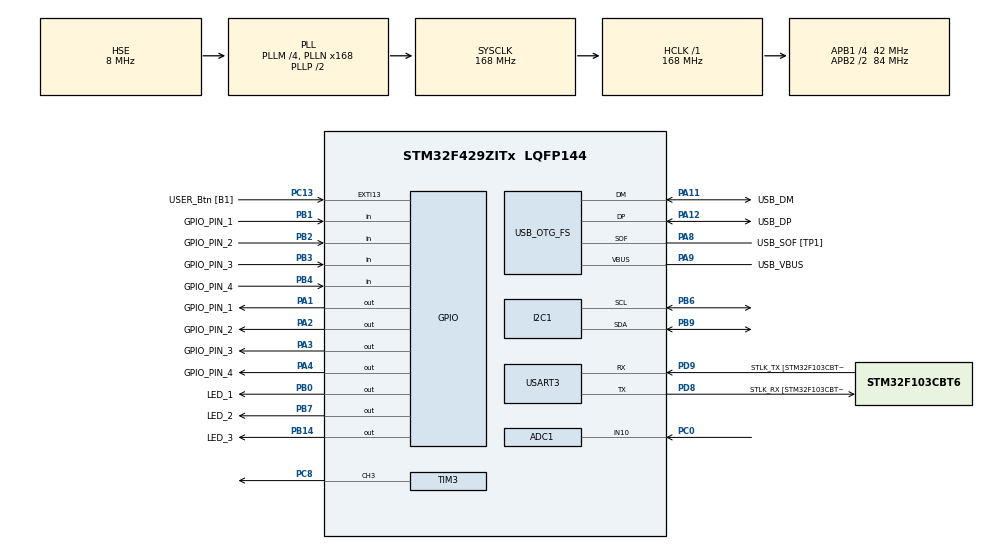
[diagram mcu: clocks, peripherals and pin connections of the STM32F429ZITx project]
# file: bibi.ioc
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ADC1.Channel-0\#ChannelRegularConversion=ADC_CHANNEL_10
ADC1.NbrOfConversionFlag=1
ADC1.Rank-0\#ChannelRegularConversion=1
ADC1.SamplingTime-0\#ChannelRegularConversion=ADC_SAMPLETIME_3CYCLES
ADC1.master=1
Mcu.Family=STM32F4
Mcu.Name=STM32F429ZITx
Mcu.Package=LQFP144
NVIC.PriorityGroup=NVIC_PRIORITYGROUP_4
NVIC.USART3_IRQn=true\:1\:0\:true\:false\:true\:true\:true\:true
PA1.GPIO_Label=GPIO_PIN_1
PA1.Signal=GPIO_Output
PA11.GPIO_Label=USB_DM
PA11.Mode=Device_Only
PA11.Signal=USB_OTG_FS_DM
PA12.GPIO_Label=USB_DP
PA12.Mode=Device_Only
PA12.Signal=USB_OTG_FS_DP
PA13.GPIO_Label=TMS
PA13.Mode=Serial_Wire
PA13.Signal=SYS_JTMS-SWDIO
PA14.GPIO_Label=TCK
PA14.Mode=Serial_Wire
PA14.Signal=SYS_JTCK-SWCLK
PA2.GPIO_Label=GPIO_PIN_2
PA2.Signal=GPIO_Output
PA3.GPIO_Label=GPIO_PIN_3
PA3.Signal=GPIO_Output
PA4.GPIO_Label=GPIO_PIN_4
PA4.Signal=GPIO_Output
PA8.GPIO_Label=USB_SOF [TP1]
PA8.Mode=Activate_SOF_FS
PA8.Signal=USB_OTG_FS_SOF
PA9.GPIO_Label=USB_VBUS
PA9.Mode=Activate_VBUS
PA9.Signal=USB_OTG_FS_VBUS
PB0.GPIO_Label=LED_1
PB0.Signal=GPIO_Output
PB1.GPIO_Label=GPIO_PIN_1
PB1.GPIO_PuPd=GPIO_PULLUP
PB1.Signal=GPIO_Input
PB14.GPIO_Label=LED_3
PB14.Signal=GPIO_Output
PB2/BOOT1.GPIO_Label=GPIO_PIN_2
PB2/BOOT1.GPIO_PuPd=GPIO_PULLUP
PB2/BOOT1.Signal=GPIO_Input
PB3.GPIO_Label=GPIO_PIN_3
PB3.GPIO_PuPd=GPIO_PULLUP
PB3.Signal=GPIO_Input
PB4.GPIO_Label=GPIO_PIN_4
PB4.GPIO_PuPd=GPIO_PULLUP
PB4.Signal=GPIO_Input
PB6.Mode=I2C
PB6.Signal=I2C1_SCL
PB7.GPIO_Label=LED_2
PB7.Signal=GPIO_Output
PB9.Mode=I2C
PB9.Signal=I2C1_SDA
PC0.Signal=ADCx_IN10
PC13.GPIO_Label=USER_Btn [B1]
PC13.Signal=GPXTI13
PC14/OSC32_IN.Mode=LSE-External-Oscillator
PC14/OSC32_IN.Signal=RCC_OSC32_IN
PC15/OSC32_OUT.Mode=LSE-External-Oscillator
PC15/OSC32_OUT.Signal=RCC_OSC32_OUT
PC8.Signal=S_TIM3_CH3
PD8.GPIO_Label=STLK_RX [STM32F103CBT6_PA3]
PD8.Mode=Asynchronous
PD8.Signal=USART3_TX
PD9.GPIO_Label=STLK_TX [STM32F103CBT6_PA2]
PD9.Mode=Asynchronous
PD9.Signal=USART3_RX
PH0/OSC_IN.GPIO_Label=MCO [STM32F103CBT6_PA8]
PH0/OSC_IN.Mode=HSE-External-Clock-Source
PH0/OSC_IN.Signal=RCC_OSC_IN
PH1/OSC_OUT.Mode=HSE-External-Clock-Source
PH1/OSC_OUT.Signal=RCC_OSC_OUT
ProjectManager.HeapSize=0x200
ProjectManager.StackSize=0x400
ProjectManager.TargetToolchain=STM32CubeIDE
RCC.48MHZClocksFreq_Value=48000000
RCC.AHBFreq_Value=168000000
RCC.APB1CLKDivider=RCC_HCLK_DIV4
RCC.APB1Freq_Value=42000000
RCC.APB1TimFreq_Value=84000000
RCC.APB2CLKDivider=RCC_HCLK_DIV2
RCC.APB2Freq_Value=84000000
RCC.APB2TimCLKDivider=2
RCC.APB2TimFreq_Value=168000000
RCC.CortexFreq_Value=168000000
RCC.HCLKFreq_Value=168000000
RCC.HSE_VALUE=8000000
RCC.HSI_VALUE=16000000
RCC.PLLM=4
RCC.PLLMUL=RCC_PLL_MUL9
RCC.PLLN=168
RCC.PLLQ=7
RCC.PRESCALERUSB=RCC_USBCLKSOURCE_PLL_DIV1_5
RCC.SYSCLKFreq_VALUE=168000000
RCC.SYSCLKSource=RCC_SYSCLKSOURCE_PLLCLK
RCC.SYSCLKSourceVirtual=RCC_SYSCLKSOURCE_PLLCLK
RCC.USBFreq_Value=48000000
RCC.VCOOutputFreq_Value=336000000
SH.ADCx_IN10.0=ADC1_IN10,IN10
SH.S_TIM3_CH3.0=TIM3_CH3,PWM Generation3 CH3
TIM3.Channel-PWM\ Generation3\ CH3=TIM_CHANNEL_3
TIM3.Prescaler=84-1
USART3.VirtualMode=VM_ASYNC
USB_OTG_FS.VirtualMode=Device_Only
VP_TIM3_VS_ClockSourceINT.Mode=Internal
board=NUCLEO-F429ZI

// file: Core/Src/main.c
/* USER CODE BEGIN Header */
/**
  ******************************************************************************
  * @file           : main.c
  * @brief          : Main program body
  ******************************************************************************
  * @attention
  *
  * Copyright (c) 2025 STMicroelectronics.
  * All rights reserved.
  *
  * This software is licensed under terms that can be found in the LICENSE file
  * in the root directory of this software component.
  * If no LICENSE file comes with this software, it is provided AS-IS.
  *
  ******************************************************************************
  */
/* USER CODE END Header */
#include "main.h"

/* USER CODE BEGIN Includes */
#include"lcd_16x2.h"
#include "math.h"
#include "stdlib.h"  // for rand()
/* USER CODE END Includes */

/* USER CODE BEGIN PD */
#define CLOCK_FREQ 1000000
#define FREQ_DO 262
#define FREQ_RE 294
#define FREQ_MI 330
#define FREQ_FA 349
#define FREQ_SO 392
#define FREQ_LA 440
#define FREQ_SI 494
#define FREQ_DO_H 523
#define FREQ_RE_H 587
#define FREQ_MI_H 660
//#define FREQ_MI_H 659

float freq[10] = {FREQ_DO, FREQ_RE, FREQ_MI, FREQ_FA,
                FREQ_SO, FREQ_LA, FREQ_SI, FREQ_DO_H ,
			FREQ_RE_H,FREQ_MI_H};

/* USER CODE END PD */

ADC_HandleTypeDef hadc1;

I2C_HandleTypeDef hi2c1;

TIM_HandleTypeDef htim3;

UART_HandleTypeDef huart3;

PCD_HandleTypeDef hpcd_USB_OTG_FS;

void SystemClock_Config(void);
static void MX_GPIO_Init(void);
static void MX_USART3_UART_Init(void);
static void MX_USB_OTG_FS_PCD_Init(void);
static void MX_TIM3_Init(void);
static void MX_I2C1_Init(void);
static void MX_ADC1_Init(void);

/* USER CODE BEGIN 0 */
int pitch_offsets[10] = {0};  // 每�?��?�鍵??�音調�?�移�???-5 ~ +5�???
uint32_t Read_Potentiometer() {
    HAL_ADC_Start(&hadc1);
    HAL_ADC_PollForConversion(&hadc1, 100);
    return HAL_ADC_GetValue(&hadc1);
}

uint8_t lcd_col = 0;
uint8_t lcd_row = 0;

#define MAX_NOTE_HISTORY 1000  // ??�??? ?? 32 ? ?�� ??

char note_history[MAX_NOTE_HISTORY][4];  // �??? ? ?���??? ? ?? 3 �??? ?? + null terminator
uint8_t note_index = 0;
uint8_t awaiting_song_selection = 0;

#define MAX_SONGS 20
#define MAX_NOTES_PER_SONG 1000

uint8_t voice_recognition_mode = 0;

char songs[MAX_SONGS][MAX_NOTES_PER_SONG] = {
	"5:4 6:4 5:4 4:4 3:4 4:4 5:4 1:4 1:4",               // 0. Let it Be
	"3:4 3:4 4:4 5:4 5:4 4:4 3:4 2:4 1:4",               // 1. Imagine
	"3:4 4:4 5:4 6:4 6:4 5:4 4:4 3:4",                   // 2. Yesterday
	"5:4 5:4 6:4 5:4 4:4 3:4 3:4 4:4 5:4",               // 3. Hey Jude
	"6:4 5:4 4:4 5:4 6:4 6:4 5:4 4:4",                   // 4. Hello
	"5:4 5:4 5:4 4:4 3:4 3:4 4:4 5:4",                   // 5. Shape of You
	"3:4 3:4 4:4 5:4 5:4 6:4 6:4 5:4",                   // 6. Perfect
	"5:4 6:4 6:4 5:4 4:4 4:4 3:4",                       // 7. Believer
	"3:4 3:4 4:4 5:4 5:4 6:4 6:4 5:4",                   // 8. Counting Stars
	"4:4 5:4 6:4 6:4 5:4 4:4 3:4",                       // 9. Faded
    "5:4 5:4 5:4 5:8 6:8 5:4 4:4 3:4 2:4 1:4 1:4 1:8 6:8 6:4 5:4 4:4 3:4 2:4 1:4",  // 0. ??�白气�??(?��?���???)
    "5:4 5:8 6:8 5:8 1:8 7:4 5:4 5:8 6:8 5:8 1:8 2:4 3:4 2:4 2:8 1:8",               // 1. 说好不哭(?��?���???)
    "1:4 2:4 3:4 5:4 5:4 3:4 2:4 1:8 6:8 6:4 1:4 5:4 5:4 3:4 2:4",                     // 2. 年�?��?�为(??�荣�???)
    "5:4 5:4 5:4 5:8 6:8 7:4 1:4 1:4 1:8 7:8 6:4 5:4 5:4 5:8 6:8 7:4 1:4 2:4 3:4",     // 3. ??�年之�??(G.E.M.)
    "3:4 4:4 5:4 5:4 4:4 3:4 2:4 1:4 1:4 2:4 3:4 4:4 4:4 3:4 2:4",                     // 4. 演�??(??��?�谦)
    "1:8 1:8 1:8 1:8 5:4 5:4 5:8 6:8 6:4 6:4 5:4 5:4 4:4 4:4 3:4 3:4 2:4 2:8 1:8",     // 5. 学猫?��(?���???)
    "5:4 6:4 5:4 4:4 3:4 4:4 5:4 6:4 5:4 4:4 3:4 4:4 5:4 1:4 1:4",                     // 6. 沙�?��?�驼(?���???)
    "3:4 4:4 5:4 5:4 6:4 6:4 5:4 3:4 2:4 3:4 4:4 5:4 5:4 6:4 6:4 5:4 3:4 2:4",         // 7. 体面(于�?��??)
    "1:4 2:4 3:4 3:4 2:4 1:4 1:4 2:4 3:4 3:4 2:4 1:4 1:4 2:4 3:4 4:4 5:4 6:4",         // 8. 纸短??�长(?���???)
    "5:4 5:4 6:4 5:4 4:4 3:4 2:4 1:4 5:4 5:4 6:4 5:4 4:4 3:4 2:4 1:4"                  // 9. �?????��?��??(马良
};

const char *known_song_names[10] = {
    "let it be", "imagine", "yesterday", "hey jude", "hello",
    "shape of you", "perfect", "believer", "counting stars", "faded"
};

int Match_Song_Name(const char *name) {
    for (int i = 0; i < 10; i++) {
        if (strstr(name, known_song_names[i]) != NULL) {
            return i;
        }
    }
    return -1;
}

char Read_Keypad(void)
{
    const char keymap[4][4] = {
        {'1', '2', '3', 'A'},
        {'4', '5', '6', 'B'},
        {'7', '8', '9', 'C'},
        {'*', '0', '#', 'D'}
    };

    uint16_t row_pins[4] = {GPIO_PIN_1, GPIO_PIN_2, GPIO_PIN_3, GPIO_PIN_4};
    uint16_t col_pins[4] = {GPIO_PIN_1, GPIO_PIN_2, GPIO_PIN_3, GPIO_PIN_4};

    for (int row = 0; row < 4; row++)
    {
        // �??? ?  ???  ? ?�� HIGH
        for (int i = 0; i < 4; i++)
        {
            HAL_GPIO_WritePin(GPIOA, row_pins[i], GPIO_PIN_SET);
        }

        // 將當??  ?  ?? LOW
        HAL_GPIO_WritePin(GPIOA, row_pins[row], GPIO_PIN_RESET);

        // ??  ?  ???  ??
        for (int col = 0; col < 4; col++)
        {
            if (HAL_GPIO_ReadPin(GPIOB, col_pins[col]) == GPIO_PIN_RESET)
            {
                // �??? ?  ? ?��?  ??  ? ?��??  ? 次觸?�� ??????????????
                while (HAL_GPIO_ReadPin(GPIOB, col_pins[col]) == GPIO_PIN_RESET);
                return keymap[row][col];
            }
        }
    }

    return 0; // �??? ?  ? ?���??? ?  ??
}
void LCD16_PrintNoteStr(const char* note) {
    // �??? ? ?�� ??
    if (note_index < MAX_NOTE_HISTORY) {
        strncpy(note_history[note_index], note, 3);
        note_history[note_index][3] = '\0';  // 保險�??? ?  ?  ?  ? �??? ??
        note_index++;
    }

    // 顯示?   LCD
    if (lcd_col > 15) {
        lcd_col = 0;
        lcd_row++;
        if (lcd_row >= 2) {
            lcd_row = 0;
            LCD16_Clear();
        }
    }

    LCD16_SetCursor(lcd_col, lcd_row);
    LCD16_PrintStr(note);
    lcd_col += strlen(note);
}

void PlayNoteHistory() {
    LCD16_Clear();
    uint8_t cursor_x = 0;
    uint8_t cursor_y = 0;

    for (uint8_t i = 0; i < note_index; i++) {
        const char* note = note_history[i];
        uint8_t j;

        // ?  ?  �??? ?  ? ?��??? index
        for (j = 0; j < 10; j++) {
            if ((strcmp(note, "0") == 0 && j == 0) ||
                (strcmp(note, "1") == 0 && j == 1) ||
                (strcmp(note, "2") == 0 && j == 2) ||
                (strcmp(note, "3") == 0 && j == 3) ||
                (strcmp(note, "4") == 0 && j == 4) ||
                (strcmp(note, "5") == 0 && j == 5) ||
                (strcmp(note, "6") == 0 && j == 6) ||
                (strcmp(note, "7") == 0 && j == 7) ||
                (strcmp(note, "8") == 0 && j == 8) ||
                (strcmp(note, "9") == 0 && j == 9)) {
                break;
            }
        }

        if (j < 10) {
        	float adjusted_freq = freq[j] * pow(2.0f, pitch_offsets[j] / 12.0f);
        	__HAL_TIM_SET_AUTORELOAD(&htim3, (int)(CLOCK_FREQ / adjusted_freq));
        	int width = (int)(CLOCK_FREQ / adjusted_freq / 2);

            __HAL_TIM_SET_COMPARE(&htim3, TIM_CHANNEL_3, width);

            // 顯示?  ?  ?? 游�?? ? �???
            LCD16_SetCursor(cursor_x, cursor_y);
            LCD16_PrintStr(note);

            // �??? ? 游�?? ? �???
            cursor_x += 1;

            // ??  ?  ?  ?  ??
            if (cursor_x > 15) {
                cursor_x = 0;
                cursor_y++;
            }
            if (cursor_y > 1) {
                HAL_Delay(300);
                LCD16_Clear();
                cursor_x = 0;
                cursor_y = 0;
            }

            HAL_Delay(300);
        }
    }

    // ?  ?  �??? ?  ? ?���??? ? ?��?  ?
    __HAL_TIM_SET_COMPARE(&htim3, TIM_CHANNEL_3, 0);
    LCD16_Clear();
}

void Play_Song(const char *notes) {
    LCD16_Clear();
    uint8_t lcd_col = 0, lcd_row = 0;

    LCD16_SetCursor(0, 0);
    LCD16_PrintStr("Playing...");
    LCD16_SetCursor(0, 1);
    LCD16_PrintStr("#=Stop");

    HAL_Delay(1000);
    LCD16_Clear();

    char buffer[10];
    const char *ptr = notes;
    uint8_t interrupted = 0;

    while (*ptr && !interrupted) {
        while (*ptr == ' ') ptr++;
        if (!*ptr) break;

        char note = *ptr++;
        if (note < '0' || note > '9') continue;

        int duration = 400;
        if (*ptr == ':') {
            ptr++;
            char duration_char = *ptr++;
            if (duration_char == '8') duration = 200;
            else if (duration_char == '4') duration = 400;
        }

        uint8_t index = note - '0';
        __HAL_TIM_SET_AUTORELOAD(&htim3, (int)(CLOCK_FREQ / freq[index]));
        __HAL_TIM_SET_COMPARE(&htim3, TIM_CHANNEL_3, (int)(CLOCK_FREQ / freq[index] / 2));

        // 顯示?���???
        buffer[0] = note;
        buffer[1] = '\0';
        LCD16_SetCursor(lcd_col, lcd_row);
        LCD16_PrintStr(buffer);

        lcd_col++;
        if (lcd_col >= 16) {
            lcd_col = 0;
            lcd_row++;
            if (lcd_row >= 2) {
                HAL_Delay(300);       // 給使?��?��???��?��??
                LCD16_Clear();
                lcd_row = 0;
            }
        }

        // ?��?��等�?�並?��中斷
        uint32_t start_time = HAL_GetTick();
        while ((HAL_GetTick() - start_time) < duration && !interrupted) {
            if (Read_Keypad() == '#') interrupted = 1;
            HAL_Delay(10);
        }

        __HAL_TIM_SET_COMPARE(&htim3, TIM_CHANNEL_3, 0);

        if (!interrupted) {
            start_time = HAL_GetTick();
            while ((HAL_GetTick() - start_time) < 50 && !interrupted) {
                if (Read_Keypad() == '#') interrupted = 1;
                HAL_Delay(10);
            }
        }
    }

    __HAL_TIM_SET_COMPARE(&htim3, TIM_CHANNEL_3, 0);
    LCD16_Clear();
    LCD16_PrintStr(interrupted ? "Stopped!" : "Finished!");
    HAL_Delay(500);
    LCD16_Clear();
}

uint8_t Play_Song_With_Interrupt(const char *notes) {
    LCD16_Clear();
    uint8_t lcd_col = 0, lcd_row = 0;
    char buffer[2];
    const char *ptr = notes;
    uint8_t interrupted = 0;

    while (*ptr && !interrupted) {
        while (*ptr == ' ') ptr++;
        if (!*ptr) break;

        char note = *ptr++;
        if (note < '0' || note > '9') continue;

        int duration = 400;
        if (*ptr == ':') {
            ptr++;
            char duration_char = *ptr++;
            if (duration_char == '8') duration = 200;
            else if (duration_char == '4') duration = 400;
        }

        // ?��?��?���???
        uint8_t index = note - '0';
        __HAL_TIM_SET_AUTORELOAD(&htim3, (int)(CLOCK_FREQ / freq[index]));
        __HAL_TIM_SET_COMPARE(&htim3, TIM_CHANNEL_3, (int)(CLOCK_FREQ / freq[index] / 2));

        // 顯示?���???
        buffer[0] = note;
        buffer[1] = '\0';
        LCD16_SetCursor(lcd_col, lcd_row);
        LCD16_PrintStr(buffer);

        lcd_col++;
        if (lcd_col >= 16) {
            lcd_col = 0;
            lcd_row++;
            if (lcd_row >= 2) {
                HAL_Delay(300);  // ??��?��?�給使用?��??
                LCD16_Clear();
                lcd_row = 0;
            }
        }

        // 等�?�播?��??��?�並?��測中?��
        uint32_t start_time = HAL_GetTick();
        while ((HAL_GetTick() - start_time) < duration && !interrupted) {
            if (Read_Keypad() == '#') interrupted = 1;
            HAL_Delay(10);
        }

        __HAL_TIM_SET_COMPARE(&htim3, TIM_CHANNEL_3, 0);

        if (!interrupted) {
            start_time = HAL_GetTick();
            while ((HAL_GetTick() - start_time) < 50 && !interrupted) {
                if (Read_Keypad() == '#') interrupted = 1;
                HAL_Delay(10);
            }
        }
    }

    __HAL_TIM_SET_COMPARE(&htim3, TIM_CHANNEL_3, 0);
    return interrupted;
}

uint8_t rx_buffer[32];
//char uart_buffer[32];
//
//void UART_ReceiveAndPrint(void)
//{
//    HAL_UART_Receive(&huart3, (uint8_t *)uart_buffer, sizeof(uart_buffer), HAL_MAX_DELAY);
//    LCD16_PrintStr(uart_buffer); // 顯示字串
//}
/* USER CODE END 0 */

int main(void)
{

  /* MCU Configuration--------------------------------------------------------*/

  /* Reset of all peripherals, Initializes the Flash interface and the Systick. */
  HAL_Init();

  /* Configure the system clock */
  SystemClock_Config();

  /* Initialize all configured peripherals */
  MX_GPIO_Init();
  MX_USART3_UART_Init();
  MX_USB_OTG_FS_PCD_Init();
  MX_TIM3_Init();
  MX_I2C1_Init();
  MX_ADC1_Init();
  /* USER CODE BEGIN 2 */
  HAL_TIM_PWM_Start(&htim3, TIM_CHANNEL_3);

  LCD16_Init(&hi2c1);
  LCD16_SetCursor(0, 0);
  HAL_ADC_Start(&hadc1);
//  HAL_UART_Receive_IT(&huart3, song_buffer, 10);
  HAL_UART_Receive_IT(&huart3, rx_buffer, 16);

//     LCD16_PrintStr("Hello");
//
//     LCD16_SetCursor(0, 1);
//     LCD16_PrintStr("World!");
  uint16_t width;
  /* USER CODE END 2 */

  /* Infinite loop */
  /* USER CODE BEGIN WHILE */
  while (1)
  {
//	  for (int i=0; i<8; i++){
//	  		  __HAL_TIM_SET_AUTORELOAD(&htim3, (int) (CLOCK_FREQ/freq[i]));
//	  		  int width = (int)(CLOCK_FREQ/freq[i]/2);
//	  		  __HAL_TIM_SET_COMPARE(&htim3, TIM_CHANNEL_3, width);
//	  		  HAL_Delay(1000);
//	  	  }
//	  UART_ReceiveAndPrint();
	  char key = Read_Keypad();

	      if (key != 0)
	      {
	          // ??  ?  ? ?��?
	          HAL_GPIO_WritePin(GPIOB, LED_1_Pin | LED_2_Pin | LED_3_Pin, GPIO_PIN_RESET);

	          switch (key)
	          {
	          case '1':
				  if (awaiting_song_selection) {
					  uint8_t song_id = key - '0';
					  LCD16_Clear();
					  LCD16_SetCursor(0, 0);
					  LCD16_PrintStr("Playing song ");
					  LCD16_PrintStr((char[]){key, '\0'});
					  HAL_Delay(1000);

					  Play_Song(songs[song_id]);
					  awaiting_song_selection = 0;
					  lcd_row=0;
					  lcd_col=0;
				  }
				  else {
					  float adjusted_freq = freq[1] * pow(2.0f, pitch_offsets[1] / 12.0f);
					  __HAL_TIM_SET_AUTORELOAD(&htim3, (int)(CLOCK_FREQ / adjusted_freq));
					  width = (int)(CLOCK_FREQ / adjusted_freq / 2);

					  __HAL_TIM_SET_COMPARE(&htim3, TIM_CHANNEL_3, width);
					  LCD16_PrintNoteStr("1");
				  }
	              HAL_GPIO_WritePin(GPIOB, LED_1_Pin, GPIO_PIN_SET);
	              HAL_Delay(300);

	              break;
	          case '2':
				  if (awaiting_song_selection) {
					  uint8_t song_id = key - '0';
					  LCD16_Clear();
					  LCD16_SetCursor(0, 0);
					  LCD16_PrintStr("Playing song ");
					  LCD16_PrintStr((char[]){key, '\0'});
					  HAL_Delay(1000);

					  Play_Song(songs[song_id]);
					  awaiting_song_selection = 0;
					  lcd_row=0;
					  lcd_col=0;
				  }
				  else {
					  float adjusted_freq = freq[2] * pow(2.0f, pitch_offsets[2] / 12.0f);
					  __HAL_TIM_SET_AUTORELOAD(&htim3, (int)(CLOCK_FREQ / adjusted_freq));
					  width = (int)(CLOCK_FREQ / adjusted_freq / 2);

					  __HAL_TIM_SET_COMPARE(&htim3, TIM_CHANNEL_3, width);
					  LCD16_PrintNoteStr("2");
				  }
				  HAL_GPIO_WritePin(GPIOB, LED_2_Pin, GPIO_PIN_SET);
				  HAL_Delay(300);
	              break;
	          case '3':
	        	  if (awaiting_song_selection) {
					  uint8_t song_id = key - '0';
					  LCD16_Clear();
					  LCD16_SetCursor(0, 0);
					  LCD16_PrintStr("Playing song ");
					  LCD16_PrintStr((char[]){key, '\0'});
					  HAL_Delay(1000);

					  Play_Song(songs[song_id]);
					  awaiting_song_selection = 0;
					  lcd_row=0;
					  lcd_col=0;
				  }
				  else {
					  float adjusted_freq = freq[3] * pow(2.0f, pitch_offsets[3] / 12.0f);
					  __HAL_TIM_SET_AUTORELOAD(&htim3, (int)(CLOCK_FREQ / adjusted_freq));
					  width = (int)(CLOCK_FREQ / adjusted_freq / 2);

					  __HAL_TIM_SET_COMPARE(&htim3, TIM_CHANNEL_3, width);
					  LCD16_PrintNoteStr("3");
				  }
	              HAL_GPIO_WritePin(GPIOB, LED_3_Pin, GPIO_PIN_SET);
	              HAL_Delay(300);
	              break;
	          case '4':
	        	  if (awaiting_song_selection) {
	        	  					  uint8_t song_id = key - '0';
					  LCD16_Clear();
					  LCD16_SetCursor(0, 0);
					  LCD16_PrintStr("Playing song ");
					  LCD16_PrintStr((char[]){key, '\0'});
					  HAL_Delay(1000);

					  Play_Song(songs[song_id]);
					  awaiting_song_selection = 0;
					  lcd_row=0;
					  lcd_col=0;
				  }
				  else {
					  float adjusted_freq = freq[4] * pow(2.0f, pitch_offsets[4] / 12.0f);
					  __HAL_TIM_SET_AUTORELOAD(&htim3, (int)(CLOCK_FREQ / adjusted_freq));
					  width = (int)(CLOCK_FREQ / adjusted_freq / 2);

					  __HAL_TIM_SET_COMPARE(&htim3, TIM_CHANNEL_3, width);
					  LCD16_PrintNoteStr("4");
				  }
	              HAL_GPIO_WritePin(GPIOB, LED_1_Pin | LED_2_Pin, GPIO_PIN_SET);
	              HAL_Delay(300);
	              break;
	          case '5':
	              if (awaiting_song_selection) {
					  uint8_t song_id = key - '0';
					  LCD16_Clear();
					  LCD16_SetCursor(0, 0);
					  LCD16_PrintStr("Playing song ");
					  LCD16_PrintStr((char[]){key, '\0'});
					  HAL_Delay(1000);

					  Play_Song(songs[song_id]);
					  awaiting_song_selection = 0;
					  lcd_row=0;
					  lcd_col=0;
				  }
				  else {
					  float adjusted_freq = freq[5] * pow(2.0f, pitch_offsets[5] / 12.0f);
					  __HAL_TIM_SET_AUTORELOAD(&htim3, (int)(CLOCK_FREQ / adjusted_freq));
					  width = (int)(CLOCK_FREQ / adjusted_freq / 2);
					  __HAL_TIM_SET_COMPARE(&htim3, TIM_CHANNEL_3, width);
					  LCD16_PrintNoteStr("5");
				  }
	              HAL_Delay(300);
	              break;
	          case '6':
	        	  if (awaiting_song_selection) {
					  uint8_t song_id = key - '0';
					  LCD16_Clear();
					  LCD16_SetCursor(0, 0);
					  LCD16_PrintStr("Playing song ");
					  LCD16_PrintStr((char[]){key, '\0'});
					  HAL_Delay(1000);

					  Play_Song(songs[song_id]);
					  awaiting_song_selection = 0;
					  lcd_row=0;
					  lcd_col=0;
				  }
				  else {
					  float adjusted_freq = freq[6] * pow(2.0f, pitch_offsets[6] / 12.0f);
					  __HAL_TIM_SET_AUTORELOAD(&htim3, (int)(CLOCK_FREQ / adjusted_freq));
					  width = (int)(CLOCK_FREQ / adjusted_freq / 2);
					  __HAL_TIM_SET_COMPARE(&htim3, TIM_CHANNEL_3, width);
					  LCD16_PrintNoteStr("6");
				  }
	              HAL_GPIO_WritePin(GPIOB, LED_1_Pin | LED_3_Pin, GPIO_PIN_SET);
	              HAL_Delay(300);
	              break;
	          case '7':
	        	  if (awaiting_song_selection) {
					  uint8_t song_id = key - '0';
					  LCD16_Clear();
					  LCD16_SetCursor(0, 0);
					  LCD16_PrintStr("Playing song ");
					  LCD16_PrintStr((char[]){key, '\0'});
					  HAL_Delay(1000);

					  Play_Song(songs[song_id]);
					  awaiting_song_selection = 0;
					  lcd_row=0;
					  lcd_col=0;
				  }
				  else {
					  float adjusted_freq = freq[7] * pow(2.0f, pitch_offsets[7] / 12.0f);
					  __HAL_TIM_SET_AUTORELOAD(&htim3, (int)(CLOCK_FREQ / adjusted_freq));
					  width = (int)(CLOCK_FREQ / adjusted_freq / 2);
					  __HAL_TIM_SET_COMPARE(&htim3, TIM_CHANNEL_3, width);
					  LCD16_PrintNoteStr("7");
				  }
	              HAL_GPIO_TogglePin(GPIOB, LED_1_Pin);
	              HAL_Delay(200);
	              HAL_GPIO_TogglePin(GPIOB, LED_1_Pin);
	              HAL_Delay(100);
	              break;
	          case '8':
	        	  if (awaiting_song_selection) {
					  uint8_t song_id = key - '0';
					  LCD16_Clear();
					  LCD16_SetCursor(0, 0);
					  LCD16_PrintStr("Playing song ");
					  LCD16_PrintStr((char[]){key, '\0'});
					  HAL_Delay(1000);

					  Play_Song(songs[song_id]);
					  awaiting_song_selection = 0;
					  lcd_row=0;
					  lcd_col=0;
				  }
				  else {
					  float adjusted_freq = freq[8] * pow(2.0f, pitch_offsets[8] / 12.0f);
					  __HAL_TIM_SET_AUTORELOAD(&htim3, (int)(CLOCK_FREQ / adjusted_freq));
					  width = (int)(CLOCK_FREQ / adjusted_freq / 2);
					  __HAL_TIM_SET_COMPARE(&htim3, TIM_CHANNEL_3, width);
					  LCD16_PrintNoteStr("8");
				  }
	              HAL_GPIO_TogglePin(GPIOB, LED_2_Pin);
	              HAL_Delay(200);
	              HAL_GPIO_TogglePin(GPIOB, LED_2_Pin);
	              HAL_Delay(100);
	              break;
	          case '9':

	        	  if (awaiting_song_selection) {
					  uint8_t song_id = key - '0';
					  LCD16_Clear();
					  LCD16_SetCursor(0, 0);
					  LCD16_PrintStr("Playing song ");
					  LCD16_PrintStr((char[]){key, '\0'});
					  HAL_Delay(1000);

					  Play_Song(songs[song_id]);
					  awaiting_song_selection = 0;
					  lcd_row=0;
					  lcd_col=0;
				  }
				  else {
					  float adjusted_freq = freq[9] * pow(2.0f, pitch_offsets[9] / 12.0f);
					  __HAL_TIM_SET_AUTORELOAD(&htim3, (int)(CLOCK_FREQ / adjusted_freq));
					  width = (int)(CLOCK_FREQ / adjusted_freq / 2);
					  __HAL_TIM_SET_COMPARE(&htim3, TIM_CHANNEL_3, width);
					  LCD16_PrintNoteStr("9");
				  }
	              HAL_GPIO_TogglePin(GPIOB, LED_3_Pin);
	              HAL_Delay(200);
	              HAL_GPIO_TogglePin(GPIOB, LED_3_Pin);
	              HAL_Delay(100);
	              break;
	          case '0':

	        	  if (awaiting_song_selection) {
	        	  	  uint8_t song_id = key - '0';
					  LCD16_Clear();
					  LCD16_SetCursor(0, 0);
					  LCD16_PrintStr("Playing song ");
					  LCD16_PrintStr((char[]){key, '\0'});
					  HAL_Delay(1000);

					  Play_Song(songs[song_id]);
					  awaiting_song_selection = 0;
					  lcd_row=0;
					  lcd_col=0;
				  }
	        	  else {
	        		  float adjusted_freq = freq[0] * pow(2.0f, pitch_offsets[0] / 12.0f);
					  __HAL_TIM_SET_AUTORELOAD(&htim3, (int)(CLOCK_FREQ / adjusted_freq));
					  width = (int)(CLOCK_FREQ / adjusted_freq / 2);
					  __HAL_TIM_SET_COMPARE(&htim3, TIM_CHANNEL_3, width);
					  LCD16_PrintNoteStr("0");
				  }
	        	  HAL_Delay(300);
	              // ?  ?  ??  ?  ? �????? �??? ?????????????
	              break;
	          case 'A':  // 跑馬???
	        	  awaiting_song_selection = 1;
				  LCD16_Clear();
				  LCD16_SetCursor(0, 0);
				  LCD16_PrintStr("Select song 0-9");
				  LCD16_SetCursor(0, 1);
				  LCD16_PrintStr("Press # to stop");
				  break;

	              for (int i = 0; i < 3; i++)
	              {
	                  HAL_GPIO_WritePin(GPIOB, LED_1_Pin, GPIO_PIN_SET);
	                  HAL_Delay(100);
	                  HAL_GPIO_WritePin(GPIOB, LED_1_Pin, GPIO_PIN_RESET);
	                  HAL_GPIO_WritePin(GPIOB, LED_2_Pin, GPIO_PIN_SET);
	                  HAL_Delay(100);
	                  HAL_GPIO_WritePin(GPIOB, LED_2_Pin, GPIO_PIN_RESET);
	                  HAL_GPIO_WritePin(GPIOB, LED_3_Pin, GPIO_PIN_SET);
	                  HAL_Delay(100);
	                  HAL_GPIO_WritePin(GPIOB, LED_3_Pin, GPIO_PIN_RESET);
	              }
	              break;
	          case 'B':
	          {
	              for (int i = 0; i < 10; i++) {
	                  LCD16_Clear();
	                  LCD16_SetCursor(0, 0);
	                  LCD16_PrintStr("Set pitch for ");
	                  LCD16_SetCursor(14, 0);
	                  LCD16_PrintChar('0' + i);  // 顯示 0~9 ?��符�?��?�數�???

	                  int last_offset = -100; // ??��?��?�為不可?��??��?��?�確保第�???次�?定�?�顯�???
	                  while (1) {
	                      uint32_t adc_val = Read_Potentiometer();
	                      int offset = (adc_val * 11) / 4096 - 5; // -5 ~ +5

	                      if (offset != last_offset) {
	                          char buf[16];
	                          sprintf(buf, "Offset: %+d   ", offset);  // 顯示?��式�??+3??-5 �???
	                          LCD16_SetCursor(0, 1);
	                          LCD16_PrintStr(buf);
	                          last_offset = offset;
	                      }

	                      char key = Read_Keypad();
	                      if (key == '#') {
	                          pitch_offsets[i] = offset;
	                          break;
	                      }
	                  }
	              }

	              LCD16_Clear();
	              LCD16_SetCursor(0, 0);
	              LCD16_PrintStr("Pitch Set Done");
	              HAL_Delay(1000);
	              LCD16_Clear();
	              LCD16_SetCursor(0, 0);
	              lcd_row=0;
	              lcd_col=0;
	          }
	          break;
	          case 'C':  // 歌曲?��?��?��?��??�能
	          {
	              uint8_t song_selected = 0;
	              uint32_t last_key_time = HAL_GetTick();
	              uint8_t global_interrupt = 0;  // ?���???中断??��??

	              LCD16_Clear();
	              LCD16_SetCursor(0, 0);
	              LCD16_PrintStr("C:0-9=Song");
	              LCD16_SetCursor(0, 1);
	              LCD16_PrintStr("*=Loop #=Random");

	              // 等�?�用?��输入，带超时
	              while (!song_selected && (HAL_GetTick() - last_key_time < 5000) && !global_interrupt) {
	                  char key = Read_Keypad();

	                  if (key != 0) {
	                      last_key_time = HAL_GetTick();

	                      if (key == '*') {  // 循环?��?��????��?�曲
	                          LCD16_Clear();
	                          LCD16_SetCursor(0, 0);
	                          LCD16_PrintStr("Looping All");
	                          LCD16_SetCursor(0, 1);
	                          LCD16_PrintStr("#=Stop");

	                          uint8_t loop_exit = 0;
	                          while (!loop_exit && !global_interrupt) {
	                              for (int i = 0; i < MAX_SONGS && !loop_exit && !global_interrupt; i++) {
	                                  global_interrupt = Play_Song_With_Interrupt(songs[i]);

	                                  // �????��?��?��要�?�止
	                                  if (Read_Keypad() == '#') {
	                                      loop_exit = 1;
	                                  }
	                                  HAL_Delay(300);  // 歌曲?��延�??
	                              }
	                          }
	                          song_selected = 1;
	                      }
	                      else if (key == '#') {  // ??�机?��?��
	                          LCD16_Clear();
	                          LCD16_SetCursor(0, 0);
	                          LCD16_PrintStr("Random Play");
	                          LCD16_SetCursor(0, 1);
	                          LCD16_PrintStr("#=Stop");

	                          srand(HAL_GetTick());  // ??��?��?��?�机种�??
	                          uint8_t random_exit = 0;

	                          for (int i = 0; i < 20 && !random_exit && !global_interrupt; i++) {
	                              int r = rand() % MAX_SONGS;
	                              global_interrupt = Play_Song_With_Interrupt(songs[r]);

	                              // �????��?��?��要�?�止
	                              if (Read_Keypad() == '#') {
	                                  random_exit = 1;
	                              }
	                              HAL_Delay(300);  // 歌曲?��延�??
	                          }
	                          song_selected = 1;
	                      }
	                  }
	                  HAL_Delay(50);  // ?��止�?��?��?��?��?测�?�键
	              }

	              // 清�?�显�???
	              LCD16_Clear();
	              if (global_interrupt) {
	                  LCD16_SetCursor(0, 0);
	                  LCD16_PrintStr("Stopped by User");
	                  HAL_Delay(1000);
	              }
	              else if (!song_selected) {
	                  LCD16_SetCursor(0, 0);
	                  LCD16_PrintStr("Timeout");
	                  HAL_Delay(1000);
	              }
	              LCD16_Clear();
	              break;
	          }
	          case 'D':
	              LCD16_Clear();
	              LCD16_PrintStr("Recording...");
	              LCD16_SetCursor(0, 1);
	              LCD16_PrintStr("Please speak");

	              HAL_UART_Transmit(&huart3, (uint8_t *)"START_RECORDING\n", strlen("START_RECORDING\n"), 100);
	              break;
	          case '*':  // �??? ?  ?  ? ?��?
	        	  PlayNoteHistory();
	        	  lcd_row = 0;
	        	  lcd_col = 0;
	              for (int i = 0; i < 3; i++) {
	                  HAL_GPIO_TogglePin(GPIOB, LED_1_Pin | LED_2_Pin | LED_3_Pin);
	                  HAL_Delay(100);
	              }
	              break;
	          case '#':  // ??  ?  ????
	        	  awaiting_song_selection=0;
	        	  LCD16_Clear();
	        	  lcd_row=0;
	        	  lcd_col=0;
	        	  for (int i = 0; i < 10; i++) {
					  pitch_offsets[0] = 0;
				  }
	        	  for (int i = 0; i < 50; i++) {
	        	      note_history[i][0] = '\0'; // ??�填�??? " " 也可�???
	        	  }

	        	  LCD16_PrintStr("Note cleared!");
	        	  note_index=0;
	        	  HAL_Delay(1000);
	        	  LCD16_Clear();
	              HAL_GPIO_TogglePin(GPIOB, LED_1_Pin);
	              HAL_GPIO_TogglePin(GPIOB, LED_2_Pin);
	              HAL_GPIO_TogglePin(GPIOB, LED_3_Pin);

	              break;
	          }

	      }
	      __HAL_TIM_SET_COMPARE(&htim3, TIM_CHANNEL_3, 0);

    /* USER CODE END WHILE */

  }
}

void SystemClock_Config(void)
{
  RCC_OscInitTypeDef RCC_OscInitStruct = {0};
  RCC_ClkInitTypeDef RCC_ClkInitStruct = {0};

  /** Configure the main internal regulator output voltage
  */
  __HAL_RCC_PWR_CLK_ENABLE();
  __HAL_PWR_VOLTAGESCALING_CONFIG(PWR_REGULATOR_VOLTAGE_SCALE1);

  /** Initializes the RCC Oscillators according to the specified parameters
  * in the RCC_OscInitTypeDef structure.
  */
  RCC_OscInitStruct.OscillatorType = RCC_OSCILLATORTYPE_HSE;
  RCC_OscInitStruct.HSEState = RCC_HSE_BYPASS;
  RCC_OscInitStruct.PLL.PLLState = RCC_PLL_ON;
  RCC_OscInitStruct.PLL.PLLSource = RCC_PLLSOURCE_HSE;
  RCC_OscInitStruct.PLL.PLLM = 4;
  RCC_OscInitStruct.PLL.PLLN = 168;
  RCC_OscInitStruct.PLL.PLLP = RCC_PLLP_DIV2;
  RCC_OscInitStruct.PLL.PLLQ = 7;
  if (HAL_RCC_OscConfig(&RCC_OscInitStruct) != HAL_OK)
  {
    Error_Handler();
  }

  /** Initializes the CPU, AHB and APB buses clocks
  */
  RCC_ClkInitStruct.ClockType = RCC_CLOCKTYPE_HCLK|RCC_CLOCKTYPE_SYSCLK
                              |RCC_CLOCKTYPE_PCLK1|RCC_CLOCKTYPE_PCLK2;
  RCC_ClkInitStruct.SYSCLKSource = RCC_SYSCLKSOURCE_PLLCLK;
  RCC_ClkInitStruct.AHBCLKDivider = RCC_SYSCLK_DIV1;
  RCC_ClkInitStruct.APB1CLKDivider = RCC_HCLK_DIV4;
  RCC_ClkInitStruct.APB2CLKDivider = RCC_HCLK_DIV2;

  if (HAL_RCC_ClockConfig(&RCC_ClkInitStruct, FLASH_LATENCY_5) != HAL_OK)
  {
    Error_Handler();
  }
}

static void MX_ADC1_Init(void)
{

  ADC_ChannelConfTypeDef sConfig = {0};

  /** Configure the global features of the ADC (Clock, Resolution, Data Alignment and number of conversion)
  */
  hadc1.Instance = ADC1;
  hadc1.Init.ClockPrescaler = ADC_CLOCK_SYNC_PCLK_DIV4;
  hadc1.Init.Resolution = ADC_RESOLUTION_12B;
  hadc1.Init.ScanConvMode = DISABLE;
  hadc1.Init.ContinuousConvMode = DISABLE;
  hadc1.Init.DiscontinuousConvMode = DISABLE;
  hadc1.Init.ExternalTrigConvEdge = ADC_EXTERNALTRIGCONVEDGE_NONE;
  hadc1.Init.ExternalTrigConv = ADC_SOFTWARE_START;
  hadc1.Init.DataAlign = ADC_DATAALIGN_RIGHT;
  hadc1.Init.NbrOfConversion = 1;
  hadc1.Init.DMAContinuousRequests = DISABLE;
  hadc1.Init.EOCSelection = ADC_EOC_SINGLE_CONV;
  if (HAL_ADC_Init(&hadc1) != HAL_OK)
  {
    Error_Handler();
  }

  /** Configure for the selected ADC regular channel its corresponding rank in the sequencer and its sample time.
  */
  sConfig.Channel = ADC_CHANNEL_10;
  sConfig.Rank = 1;
  sConfig.SamplingTime = ADC_SAMPLETIME_3CYCLES;
  if (HAL_ADC_ConfigChannel(&hadc1, &sConfig) != HAL_OK)
  {
    Error_Handler();
  }

}

static void MX_I2C1_Init(void)
{

  hi2c1.Instance = I2C1;
  hi2c1.Init.ClockSpeed = 100000;
  hi2c1.Init.DutyCycle = I2C_DUTYCYCLE_2;
  hi2c1.Init.OwnAddress1 = 0;
  hi2c1.Init.AddressingMode = I2C_ADDRESSINGMODE_7BIT;
  hi2c1.Init.DualAddressMode = I2C_DUALADDRESS_DISABLE;
  hi2c1.Init.OwnAddress2 = 0;
  hi2c1.Init.GeneralCallMode = I2C_GENERALCALL_DISABLE;
  hi2c1.Init.NoStretchMode = I2C_NOSTRETCH_DISABLE;
  if (HAL_I2C_Init(&hi2c1) != HAL_OK)
  {
    Error_Handler();
  }

  /** Configure Analogue filter
  */
  if (HAL_I2CEx_ConfigAnalogFilter(&hi2c1, I2C_ANALOGFILTER_ENABLE) != HAL_OK)
  {
    Error_Handler();
  }

  /** Configure Digital filter
  */
  if (HAL_I2CEx_ConfigDigitalFilter(&hi2c1, 0) != HAL_OK)
  {
    Error_Handler();
  }

}

static void MX_TIM3_Init(void)
{

  TIM_ClockConfigTypeDef sClockSourceConfig = {0};
  TIM_MasterConfigTypeDef sMasterConfig = {0};
  TIM_OC_InitTypeDef sConfigOC = {0};

  htim3.Instance = TIM3;
  htim3.Init.Prescaler = 84-1;
  htim3.Init.CounterMode = TIM_COUNTERMODE_UP;
  htim3.Init.Period = 65535;
  htim3.Init.ClockDivision = TIM_CLOCKDIVISION_DIV1;
  htim3.Init.AutoReloadPreload = TIM_AUTORELOAD_PRELOAD_DISABLE;
  if (HAL_TIM_Base_Init(&htim3) != HAL_OK)
  {
    Error_Handler();
  }
  sClockSourceConfig.ClockSource = TIM_CLOCKSOURCE_INTERNAL;
  if (HAL_TIM_ConfigClockSource(&htim3, &sClockSourceConfig) != HAL_OK)
  {
    Error_Handler();
  }
  if (HAL_TIM_PWM_Init(&htim3) != HAL_OK)
  {
    Error_Handler();
  }
  sMasterConfig.MasterOutputTrigger = TIM_TRGO_RESET;
  sMasterConfig.MasterSlaveMode = TIM_MASTERSLAVEMODE_DISABLE;
  if (HAL_TIMEx_MasterConfigSynchronization(&htim3, &sMasterConfig) != HAL_OK)
  {
    Error_Handler();
  }
  sConfigOC.OCMode = TIM_OCMODE_PWM1;
  sConfigOC.Pulse = 0;
  sConfigOC.OCPolarity = TIM_OCPOLARITY_HIGH;
  sConfigOC.OCFastMode = TIM_OCFAST_DISABLE;
  if (HAL_TIM_PWM_ConfigChannel(&htim3, &sConfigOC, TIM_CHANNEL_3) != HAL_OK)
  {
    Error_Handler();
  }
  HAL_TIM_MspPostInit(&htim3);

}

static void MX_USART3_UART_Init(void)
{

  huart3.Instance = USART3;
  huart3.Init.BaudRate = 115200;
  huart3.Init.WordLength = UART_WORDLENGTH_8B;
  huart3.Init.StopBits = UART_STOPBITS_1;
  huart3.Init.Parity = UART_PARITY_NONE;
  huart3.Init.Mode = UART_MODE_TX_RX;
  huart3.Init.HwFlowCtl = UART_HWCONTROL_NONE;
  huart3.Init.OverSampling = UART_OVERSAMPLING_16;
  if (HAL_UART_Init(&huart3) != HAL_OK)
  {
    Error_Handler();
  }

}

static void MX_USB_OTG_FS_PCD_Init(void)
{

  hpcd_USB_OTG_FS.Instance = USB_OTG_FS;
  hpcd_USB_OTG_FS.Init.dev_endpoints = 4;
  hpcd_USB_OTG_FS.Init.speed = PCD_SPEED_FULL;
  hpcd_USB_OTG_FS.Init.dma_enable = DISABLE;
  hpcd_USB_OTG_FS.Init.phy_itface = PCD_PHY_EMBEDDED;
  hpcd_USB_OTG_FS.Init.Sof_enable = ENABLE;
  hpcd_USB_OTG_FS.Init.low_power_enable = DISABLE;
  hpcd_USB_OTG_FS.Init.lpm_enable = DISABLE;
  hpcd_USB_OTG_FS.Init.vbus_sensing_enable = ENABLE;
  hpcd_USB_OTG_FS.Init.use_dedicated_ep1 = DISABLE;
  if (HAL_PCD_Init(&hpcd_USB_OTG_FS) != HAL_OK)
  {
    Error_Handler();
  }

}

static void MX_GPIO_Init(void)
{
  GPIO_InitTypeDef GPIO_InitStruct = {0};

  /* GPIO Ports Clock Enable */
  __HAL_RCC_GPIOC_CLK_ENABLE();
  __HAL_RCC_GPIOH_CLK_ENABLE();
  __HAL_RCC_GPIOA_CLK_ENABLE();
  __HAL_RCC_GPIOB_CLK_ENABLE();
  __HAL_RCC_GPIOD_CLK_ENABLE();

  /*Configure GPIO pin Output Level */
  HAL_GPIO_WritePin(GPIOA, GPIO_PIN_1|GPIO_PIN_2|GPIO_PIN_3|GPIO_PIN_4, GPIO_PIN_RESET);

  /*Configure GPIO pin Output Level */
  HAL_GPIO_WritePin(GPIOB, LED_1_Pin|LED_3_Pin|LED_2_Pin, GPIO_PIN_RESET);

  /*Configure GPIO pin : USER_Btn_Pin */
  GPIO_InitStruct.Pin = USER_Btn_Pin;
  GPIO_InitStruct.Mode = GPIO_MODE_IT_RISING;
  GPIO_InitStruct.Pull = GPIO_NOPULL;
  HAL_GPIO_Init(USER_Btn_GPIO_Port, &GPIO_InitStruct);

  /*Configure GPIO pins : PA1 PA2 PA3 PA4 */
  GPIO_InitStruct.Pin = GPIO_PIN_1|GPIO_PIN_2|GPIO_PIN_3|GPIO_PIN_4;
  GPIO_InitStruct.Mode = GPIO_MODE_OUTPUT_PP;
  GPIO_InitStruct.Pull = GPIO_NOPULL;
  GPIO_InitStruct.Speed = GPIO_SPEED_FREQ_LOW;
  HAL_GPIO_Init(GPIOA, &GPIO_InitStruct);

  /*Configure GPIO pins : LED_1_Pin LED_3_Pin LED_2_Pin */
  GPIO_InitStruct.Pin = LED_1_Pin|LED_3_Pin|LED_2_Pin;
  GPIO_InitStruct.Mode = GPIO_MODE_OUTPUT_PP;
  GPIO_InitStruct.Pull = GPIO_NOPULL;
  GPIO_InitStruct.Speed = GPIO_SPEED_FREQ_LOW;
  HAL_GPIO_Init(GPIOB, &GPIO_InitStruct);

  /*Configure GPIO pins : PBPin PBPin PBPin PBPin */
  GPIO_InitStruct.Pin = GPIO_PIN_1_Pin|GPIO_PIN_2_Pin|GPIO_PIN_3_Pin|GPIO_PIN_4_Pin;
  GPIO_InitStruct.Mode = GPIO_MODE_INPUT;
  GPIO_InitStruct.Pull = GPIO_PULLUP;
  HAL_GPIO_Init(GPIOB, &GPIO_InitStruct);

}

/* USER CODE BEGIN 4 */
//void HAL_UART_RxCpltCallback(UART_HandleTypeDef *huart)
//{
//    if (huart->Instance == USART3)
//    {
//        for (int i = 0; i < 10; i++) {
//            if (strncmp((char *)password_buffer, song_passwords[i], strlen(song_passwords[i])) == 0) {
//                const char *msg = "Playing...\r\n";
//                HAL_UART_Transmit(&huart3, (uint8_t *)msg, strlen(msg), 10);
//                Play_Song_With_Interrupt(songs[i]);
//                break;
//            }
//        }
//
//        HAL_UART_Receive_IT(&huart3, password_buffer, sizeof(password_buffer));
//    }
//}

void HAL_UART_RxCpltCallback(UART_HandleTypeDef *huart)
{
    if (huart->Instance == USART3)
    {
        rx_buffer[15] = '\0';  // 加結尾
        LCD16_Clear();
        LCD16_SetCursor(0, 0);
        LCD16_PrintStr("Now Playing:");
        LCD16_SetCursor(0, 1);
        LCD16_PrintStr((char *)rx_buffer);

        // 根據歌曲名稱找到索引
        int song_index = Match_Song_Name((char *)rx_buffer);
        if (song_index >= 0) {
            Play_Song_With_Interrupt(songs[song_index]);
        }

        HAL_UART_Receive_IT(&huart3, rx_buffer, 16);  // 重啟接收
    }
}

/* USER CODE END 4 */

void Error_Handler(void)
{
  __disable_irq();
  while (1)
  {
  }
}
